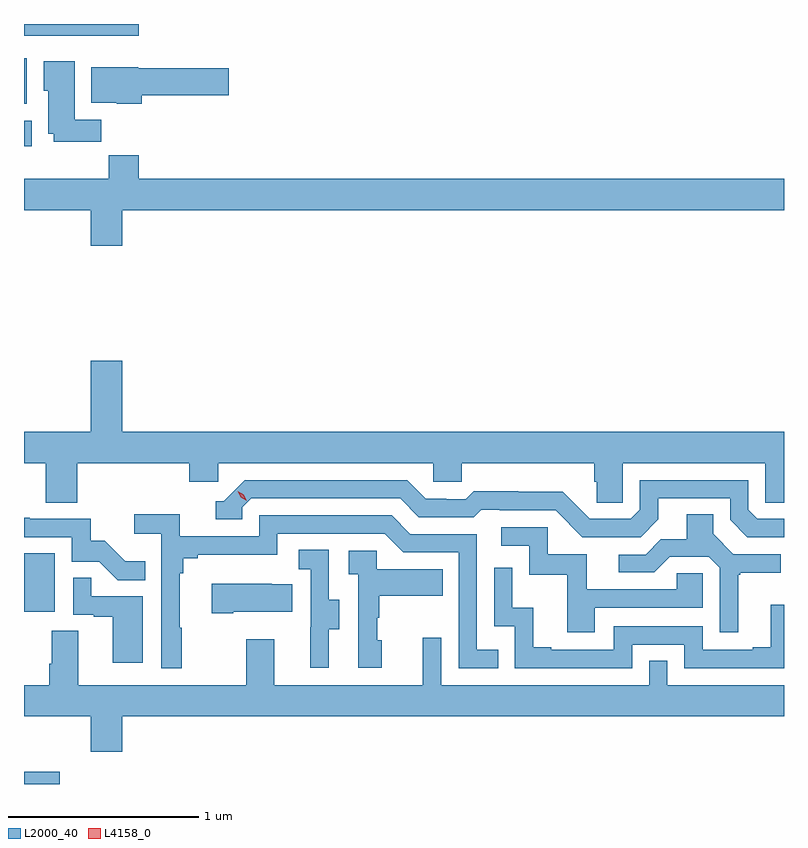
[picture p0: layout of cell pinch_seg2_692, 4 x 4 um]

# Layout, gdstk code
import gdstk
lib = gdstk.Library(unit=1e-6, precision=1e-09)
def R(c, l, rs):  # rectangles x0, y0, x1, y1
    for r in rs: c.add(gdstk.rectangle(r[:2], r[2:], *l))
def P(c, l, *ps):  # polygons
    for p in ps: c.add(gdstk.Polygon(p, *l))
L2000_40 = (2000, 40)
L4158_0 = (4158, 0)

pinch_seg2_692 = lib.new_cell('pinch_seg2_692')
R(pinch_seg2_692, L2000_40, [(1123.696,592.667,1123.885,592.731), (1123.696,593.574,1123.858,593.881), (1123.696,596.024,1123.738,596.158), (1123.696,596.246,1123.711,596.488), (1123.696,596.606,1124.3,596.667)])
P(pinch_seg2_692, L2000_40, [(1124.102,596.164),(1123.963,596.164),(1123.963,596.47),(1123.799,596.47),(1123.799,596.316),(1123.823,596.316),(1123.823,596.09),(1123.853,596.09),(1123.853,596.046),(1124.102,596.046)],
  [(1124.315,596.293),(1124.773,596.293),(1124.773,596.435),(1124.298,596.435),(1124.298,596.44),(1124.051,596.44),(1124.051,596.252),(1124.184,596.252),(1124.184,596.246),(1124.315,596.246)],
  [(1124.212,595.688),(1127.696,595.688),(1127.696,595.852),(1124.3,595.852),(1124.3,595.976),(1124.143,595.976),(1124.143,595.852),(1123.696,595.852),(1123.696,595.688),(1124.048,595.688),(1124.048,595.5),(1124.212,595.5)],
  [(1123.976,594.356),(1124.567,594.356),(1124.567,594.258),(1124.718,594.258),(1124.718,594.356),(1125.849,594.356),(1125.849,594.258),(1125.999,594.258),(1125.999,594.356),(1126.697,594.356),(1126.697,594.258),(1126.711,594.258),(1126.711,594.148),(1126.848,594.148),(1126.848,594.356),(1127.598,594.356),(1127.598,594.148),(1127.696,594.148),(1127.696,594.52),(1124.212,594.52),(1124.212,594.895),(1124.048,594.895),(1124.048,594.52),(1123.696,594.52),(1123.696,594.356),(1123.811,594.356),(1123.811,594.148),(1123.976,594.148)],
  [(1127.035,594.061),(1127.035,594.171),(1127.412,594.171),(1127.412,594.057),(1127.502,593.967),(1127.696,593.967),(1127.696,594.063),(1127.556,594.063),(1127.508,594.111),(1127.508,594.267),(1126.938,594.267),(1126.938,594.111),(1126.89,594.063),(1126.674,594.063),(1126.532,594.205),(1126.296,594.205),(1126.296,594.208),(1126.063,594.208),(1126.021,594.165),(1125.918,594.165),(1125.918,594.168),(1125.811,594.168),(1125.712,594.267),(1124.859,594.267),(1124.748,594.156),(1124.705,594.156),(1124.705,594.06),(1124.844,594.06),(1124.844,594.123),(1124.892,594.171),(1125.675,594.171),(1125.774,594.072),(1126.063,594.072),(1126.102,594.111),(1126.201,594.111),(1126.201,594.108),(1126.494,594.108),(1126.635,593.967),(1126.941,593.967)],
  [(1127.455,593.769),(1127.467,593.769),(1127.467,593.78),(1127.68,593.78),(1127.68,593.877),(1127.43,593.877),(1127.323,593.984),(1127.323,594.086),(1127.183,594.086),(1127.183,593.954),(1127.048,593.954),(1126.968,593.874),(1126.827,593.874),(1126.827,593.781),(1127.014,593.781),(1127.095,593.862),(1127.301,593.862),(1127.358,593.805),(1127.358,593.466),(1127.455,593.466)],
  [(1124.527,593.489),(1124.515,593.489),(1124.515,593.777),(1124.534,593.777),(1124.534,593.854),(1124.611,593.854),(1124.611,593.873),(1125.03,593.873),(1125.03,593.985),(1125.594,593.985),(1125.693,593.886),(1125.984,593.886),(1125.984,593.277),(1126.193,593.277),(1126.193,593.373),(1126.08,593.373),(1126.08,593.982),(1125.73,593.982),(1125.631,594.081),(1124.934,594.081),(1124.934,593.97),(1124.516,593.97),(1124.516,594.086),(1124.277,594.086),(1124.277,593.984),(1124.418,593.984),(1124.418,593.277),(1124.527,593.277)],
  [(1124.333,593.839),(1124.229,593.839),(1124.122,593.946),(1124.046,593.946),(1124.046,594.063),(1123.727,594.063),(1123.727,594.068),(1123.696,594.068),(1123.696,593.967),(1123.947,593.967),(1123.947,593.838),(1124.091,593.838),(1124.189,593.74),(1124.333,593.74)],
  [(1126.699,593.595),(1127.268,593.595),(1127.268,593.775),(1127.131,593.775),(1127.131,593.691),(1126.657,593.691),(1126.657,593.877),(1126.452,593.877),(1126.452,594.018),(1126.209,594.018),(1126.209,593.922),(1126.356,593.922),(1126.356,593.769),(1126.555,593.769),(1126.555,593.466),(1126.699,593.466)],
  [(1125.301,593.482),(1125.355,593.482),(1125.355,593.637),(1125.3,593.637),(1125.3,593.9),(1125.141,593.9),(1125.141,593.797),(1125.204,593.797),(1125.204,593.493),(1125.203,593.493),(1125.203,593.28),(1125.301,593.28)],
  [(1125.58,593.424),(1125.555,593.424),(1125.555,593.543),(1125.565,593.543),(1125.565,593.657),(1125.899,593.657),(1125.899,593.797),(1125.552,593.797),(1125.552,593.895),(1125.405,593.895),(1125.405,593.771),(1125.456,593.771),(1125.456,593.28),(1125.58,593.28)],
  [(1126.896,593.4),(1127.172,593.4),(1127.172,593.277),(1127.696,593.277),(1127.696,593.611),(1127.627,593.611),(1127.627,593.386),(1127.531,593.386),(1127.531,593.373),(1127.268,593.373),(1127.268,593.496),(1126.8,593.496),(1126.8,593.373),(1126.471,593.373),(1126.471,593.386),(1126.376,593.386),(1126.376,593.594),(1126.266,593.594),(1126.266,593.806),(1126.17,593.806),(1126.17,593.496),(1126.278,593.496),(1126.278,593.277),(1126.896,593.277)],
  [(1124.32,593.655),(1124.051,593.655),(1124.051,593.753),(1123.956,593.753),(1123.956,593.559),(1124.063,593.559),(1124.063,593.547),(1124.162,593.547),(1124.162,593.304),(1124.32,593.304)],
  [(1124.797,593.573),(1125.107,593.573),(1125.107,593.719),(1124.999,593.719),(1124.999,593.722),(1124.685,593.722),(1124.685,593.566),(1124.797,593.566)],
  [(1124.212,593.024),(1127.696,593.024),(1127.696,593.188),(1127.082,593.188),(1127.082,593.315),(1126.986,593.315),(1126.986,593.188),(1125.891,593.188),(1125.891,593.437),(1125.794,593.437),(1125.794,593.188),(1125.013,593.188),(1125.013,593.428),(1124.866,593.428),(1124.866,593.188),(1123.981,593.188),(1123.981,593.474),(1123.841,593.474),(1123.841,593.3),(1123.829,593.3),(1123.829,593.188),(1123.696,593.188),(1123.696,593.024),(1124.048,593.024),(1124.048,592.836),(1124.212,592.836)])
P(pinch_seg2_692, L4158_0, [(1124.868,594.157),(1124.837,594.176),(1124.821,594.209),(1124.821,594.209),(1124.821,594.209),(1124.852,594.19),(1124.868,594.158),(1124.868,594.157)])

lib.write_gds('pinch_seg2_692.gds')
